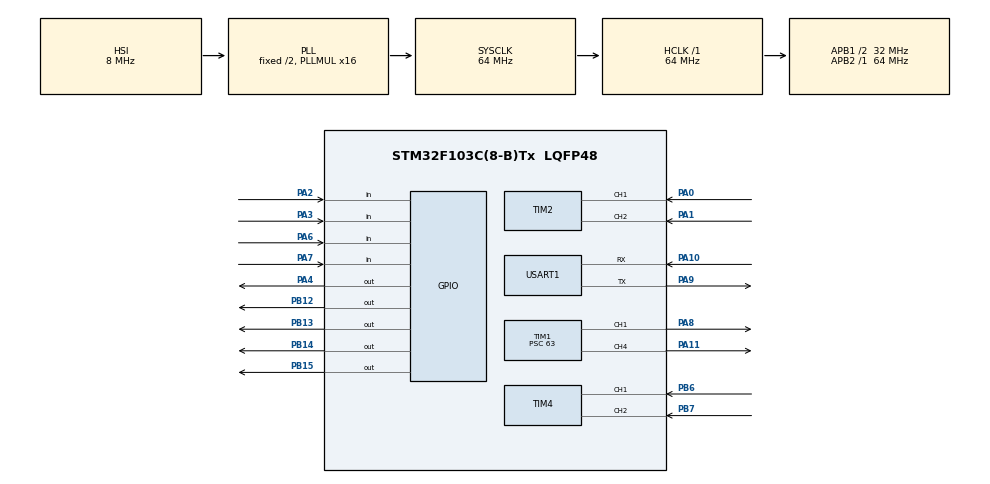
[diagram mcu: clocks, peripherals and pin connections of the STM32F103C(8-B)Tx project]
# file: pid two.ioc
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Mcu.Family=STM32F1
Mcu.Name=STM32F103C(8-B)Tx
Mcu.Package=LQFP48
NVIC.PriorityGroup=NVIC_PRIORITYGROUP_4
NVIC.TIM3_IRQn=true\:0\:0\:false\:false\:true\:true\:true\:true
PA0-WKUP.GPIO_PuPd=GPIO_PULLUP
PA0-WKUP.Signal=S_TIM2_CH1_ETR
PA1.GPIO_PuPd=GPIO_PULLUP
PA1.Signal=S_TIM2_CH2
PA10.Mode=Asynchronous
PA10.Signal=USART1_RX
PA11.Signal=S_TIM1_CH4
PA13.Mode=Serial_Wire
PA13.Signal=SYS_JTMS-SWDIO
PA14.Mode=Serial_Wire
PA14.Signal=SYS_JTCK-SWCLK
PA2.GPIO_PuPd=GPIO_PULLUP
PA2.Signal=GPIO_Input
PA3.GPIO_PuPd=GPIO_PULLUP
PA3.Signal=GPIO_Input
PA4.Signal=GPIO_Output
PA6.GPIO_PuPd=GPIO_PULLUP
PA6.Signal=GPIO_Input
PA7.GPIO_PuPd=GPIO_PULLUP
PA7.Signal=GPIO_Input
PA8.Signal=S_TIM1_CH1
PA9.Mode=Asynchronous
PA9.Signal=USART1_TX
PB12.Signal=GPIO_Output
PB13.Signal=GPIO_Output
PB14.Signal=GPIO_Output
PB15.Signal=GPIO_Output
PB6.GPIO_PuPd=GPIO_PULLUP
PB6.Signal=S_TIM4_CH1
PB7.GPIO_PuPd=GPIO_PULLUP
PB7.Signal=S_TIM4_CH2
ProjectManager.HeapSize=0x200
ProjectManager.StackSize=0x400
ProjectManager.TargetToolchain=MDK-ARM V5.32
RCC.AHBFreq_Value=64000000
RCC.APB1CLKDivider=RCC_HCLK_DIV2
RCC.APB1Freq_Value=32000000
RCC.APB1TimFreq_Value=64000000
RCC.APB2Freq_Value=64000000
RCC.APB2TimFreq_Value=64000000
RCC.HCLKFreq_Value=64000000
RCC.PLLMUL=RCC_PLL_MUL16
RCC.SYSCLKFreq_VALUE=64000000
RCC.SYSCLKSource=RCC_SYSCLKSOURCE_PLLCLK
RCC.USBFreq_Value=64000000
SH.S_TIM1_CH1.0=TIM1_CH1,PWM Generation1 CH1
SH.S_TIM1_CH4.0=TIM1_CH4,PWM Generation4 CH4
SH.S_TIM2_CH1_ETR.0=TIM2_CH1,Encoder_Interface
SH.S_TIM2_CH2.0=TIM2_CH2,Encoder_Interface
SH.S_TIM4_CH1.0=TIM4_CH1,Encoder_Interface
SH.S_TIM4_CH2.0=TIM4_CH2,Encoder_Interface
TIM1.AutoReloadPreload=TIM_AUTORELOAD_PRELOAD_ENABLE
TIM1.Channel-PWM\ Generation1\ CH1=TIM_CHANNEL_1
TIM1.Channel-PWM\ Generation4\ CH4=TIM_CHANNEL_4
TIM1.Period=999
TIM1.Prescaler=63
TIM2.EncoderMode=TIM_ENCODERMODE_TI12
TIM3.AutoReloadPreload=TIM_AUTORELOAD_PRELOAD_ENABLE
TIM3.Period=99
TIM3.Prescaler=6399
TIM4.EncoderMode=TIM_ENCODERMODE_TI12
USART1.VirtualMode=VM_ASYNC
VP_TIM1_VS_ClockSourceINT.Mode=Internal
VP_TIM3_VS_ClockSourceINT.Mode=Internal
board=custom

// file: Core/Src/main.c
/* USER CODE BEGIN Header */
/**
  ******************************************************************************
  * @file           : main.c
  * @brief          : Main program body
  ******************************************************************************
  * @attention
  *
  * Copyright (c) 2026 STMicroelectronics.
  * All rights reserved.
  *
  * This software is licensed under terms that can be found in the LICENSE file
  * in the root directory of this software component.
  * If no LICENSE file comes with this software, it is provided AS-IS.
  *
  ******************************************************************************
  */
/* USER CODE END Header */
#include "main.h"

/* USER CODE BEGIN Includes */
#include <stdio.h>
/* USER CODE END Includes */

TIM_HandleTypeDef htim1;
TIM_HandleTypeDef htim2;
TIM_HandleTypeDef htim3;
TIM_HandleTypeDef htim4;

UART_HandleTypeDef huart1;

/* USER CODE BEGIN PV */
//电机
#define COUNTS_PER_REV  1320
#define MAX_PWM         999
//循迹引脚
#define TRACK_PORT      GPIOA
#define TRACK_L1_PIN    GPIO_PIN_2   /* 最左 PA2 */
#define TRACK_L2_PIN    GPIO_PIN_3   /* 左内 PA3 */
#define TRACK_R1_PIN    GPIO_PIN_6   /* 右内 PA6 */
#define TRACK_R2_PIN    GPIO_PIN_7   /* 最右 PA7 */
#define LINE_ACTIVE     GPIO_PIN_SET   /* 压黑线 = 高电平 */
//循迹参数
#define TRACK_BASE_SPEED_RPM  273.0f /* 直道基础转速 rpm (= 60计数档, 与F键一致) */
#define TRACK_KP              45.0f  /* P: 误差 -> 差速rpm (等价旧计数单位KP=10) */
#define TRACK_KD              20.0f  /* D: 误差变化率 -> 差速rpm (等价旧计数单位KD=5) */
#define TRACK_MAX_DIFF_RPM    136.0f /* 左右差速限幅 rpm (等价旧30计数) */
#define TRACK_SLOW_AT         2      /* |误差|>=2 判定为弯道 */
#define TRACK_SLOW_DELTA_RPM  91.0f  /* 弯道降速 rpm (273->182, 即60档->40档) */
//循迹模式状态
volatile uint8_t track_mode     = 1;  /* 1=循迹中, 0=手动(原有F/B/L/R控制) */
volatile int16_t track_err_last = 0;  /* 上一次误差, 丢线时保持转向用 */
volatile int16_t track_err_prev = 0;  /* 上一次误差, PD的D项用 */

typedef struct {
    int16_t target;
    int16_t speed;
    int16_t last_cnt;
    float kp, ki, kd;
    float err, err_last;
    float integ;
    int16_t out;
} MOTOR_PID;

MOTOR_PID ml = {.kp=2.0f, .ki=2.0f, .kd=2.0f};
MOTOR_PID mr = {.kp=2.0f, .ki=2.0f, .kd=2.0f};

typedef enum { STOP=0, FORWARD, BACKWARD, LEFT, RIGHT,TRACK } MOVE_STATE;
volatile MOVE_STATE move_state = STOP;
/* USER CODE END PV */

void SystemClock_Config(void);
static void MX_GPIO_Init(void);
static void MX_TIM1_Init(void);
static void MX_TIM2_Init(void);
static void MX_TIM3_Init(void);
static void MX_TIM4_Init(void);
static void MX_USART1_UART_Init(void);
/* USER CODE BEGIN PFP */
//电机函数原型
void Motor_Left_Set(int16_t duty);
void Motor_Right_Set(int16_t duty);
void pid_calc(MOTOR_PID *p, TIM_HandleTypeDef *htim);
void Motor_Stop(void);
void Motor_Forward(int16_t speed);
void Motor_Backward(int16_t speed);
void Motor_TurnLeft(int16_t speed);
void Motor_TurnRight(int16_t speed);
void Print_Speed(void);

/* ----【NEW】循迹PD函数原型 ---- */
uint8_t Track_ReadSensors(void);        /* 读四路传感器, 返回位图 */
int16_t Track_CalcError(uint8_t sensors);/* 位图 -> 误差(-3~+3) */
void Track_Update(void);             /* 每10ms: 传感->误差->PD->目标速度 */
void Track_SetMode(uint8_t on);      /* 启动/停止循迹 */
int16_t SpeedToCount(float rpm);        /* 【NEW】rpm -> 每10ms计数值(四舍五入) */
float CountToRpm(int16_t cnt);        /* 【NEW】每10ms计数值 -> rpm */

/* USER CODE END PFP */

/* USER CODE BEGIN 0 */
int fputc(int ch, FILE *f)
{
    HAL_UART_Transmit(&huart1, (uint8_t *)&ch, 1, HAL_MAX_DELAY);
    return ch;
}

void Motor_Left_Set(int16_t duty)
{
    if (duty > 0) {
        HAL_GPIO_WritePin(GPIOB, GPIO_PIN_12, GPIO_PIN_SET);
        HAL_GPIO_WritePin(GPIOB, GPIO_PIN_13, GPIO_PIN_RESET);
    } else if (duty < 0) {
        HAL_GPIO_WritePin(GPIOB, GPIO_PIN_12, GPIO_PIN_RESET);
        HAL_GPIO_WritePin(GPIOB, GPIO_PIN_13, GPIO_PIN_SET);
        duty = -duty;
    } else {
        HAL_GPIO_WritePin(GPIOB, GPIO_PIN_12, GPIO_PIN_RESET);
        HAL_GPIO_WritePin(GPIOB, GPIO_PIN_13, GPIO_PIN_RESET);
    }
    if (duty > MAX_PWM) duty = MAX_PWM;
    __HAL_TIM_SET_COMPARE(&htim1, TIM_CHANNEL_1, duty);
}

void Motor_Right_Set(int16_t duty)
{
    if (duty > 0) {
        HAL_GPIO_WritePin(GPIOB, GPIO_PIN_14, GPIO_PIN_SET);
        HAL_GPIO_WritePin(GPIOB, GPIO_PIN_15, GPIO_PIN_RESET);
    } else if (duty < 0) {
        HAL_GPIO_WritePin(GPIOB, GPIO_PIN_14, GPIO_PIN_RESET);
        HAL_GPIO_WritePin(GPIOB, GPIO_PIN_15, GPIO_PIN_SET);
        duty = -duty;
    } else {
        HAL_GPIO_WritePin(GPIOB, GPIO_PIN_14, GPIO_PIN_RESET);
        HAL_GPIO_WritePin(GPIOB, GPIO_PIN_15, GPIO_PIN_RESET);
    }
    if (duty > MAX_PWM) duty = MAX_PWM;
    __HAL_TIM_SET_COMPARE(&htim1, TIM_CHANNEL_4, duty);
}

void pid_calc(MOTOR_PID *p, TIM_HandleTypeDef *htim)
{
    // 1. 目标为0 -> 强制停转
    if (p->target == 0) {
        p->out = 0;
        p->integ = 0;
        p->speed = 0;
        p->err = 0;
        return;
    }

    // 2. 差分计数（绝不写回CNT）
    int16_t now = (int16_t)__HAL_TIM_GET_COUNTER(htim);
    p->speed = now - p->last_cnt;

    p->last_cnt = now;

    // 5. PID
    p->err = p->target - p->speed;
    p->integ += p->err;
    if (p->integ > 500) p->integ = 500;
    if (p->integ < -500) p->integ = -500;

    float d = p->err - p->err_last;
    p->out = (int16_t)(p->kp * p->err + p->ki * p->integ + p->kd * d);
    p->err_last = p->err;

    // 6. 输出限幅
    if (p->out > MAX_PWM) p->out = MAX_PWM;
    if (p->out < -MAX_PWM) p->out = -MAX_PWM;
}

void Motor_Stop(void)
{
    ml.target = 0; mr.target = 0;
    ml.integ = 0;   mr.integ = 0;
    ml.out = 0;     mr.out = 0;
    ml.err = 0;     mr.err = 0;
    ml.err_last = 0;mr.err_last = 0;
    Motor_Left_Set(0);
    Motor_Right_Set(0);
    HAL_GPIO_WritePin(GPIOA, GPIO_PIN_4, GPIO_PIN_RESET); // STBY=0
}

void Motor_Forward(int16_t speed)
{
    HAL_GPIO_WritePin(GPIOA, GPIO_PIN_4, GPIO_PIN_SET);
    ml.target = speed; mr.target = speed;
    ml.integ = 0; mr.integ = 0; ml.out = 0; mr.out = 0;
    ml.err = 0; mr.err = 0; ml.err_last = 0; mr.err_last = 0;
}

void Motor_Backward(int16_t speed)
{
    HAL_GPIO_WritePin(GPIOA, GPIO_PIN_4, GPIO_PIN_SET);
    ml.target = -speed; mr.target = -speed;
    ml.integ = 0; mr.integ = 0; ml.out = 0; mr.out = 0;
    ml.err = 0; mr.err = 0; ml.err_last = 0; mr.err_last = 0;
}

void Motor_TurnLeft(int16_t speed)
{
    HAL_GPIO_WritePin(GPIOA, GPIO_PIN_4, GPIO_PIN_SET);
    ml.target = speed / 2; mr.target = speed;
    ml.integ = 0; mr.integ = 0; ml.out = 0; mr.out = 0;
    ml.err = 0; mr.err = 0; ml.err_last = 0; mr.err_last = 0;
}

void Motor_TurnRight(int16_t speed)
{
    HAL_GPIO_WritePin(GPIOA, GPIO_PIN_4, GPIO_PIN_SET);
    ml.target = speed; mr.target = speed / 2;
    ml.integ = 0; mr.integ = 0; ml.out = 0; mr.out = 0;
    ml.err = 0; mr.err = 0; ml.err_last = 0; mr.err_last = 0;
}

void Print_Speed(void)
{
    float rpm_l = ml.speed * 100.0f * 60.0f / COUNTS_PER_REV;
    float rpm_r = mr.speed * 100.0f * 60.0f / COUNTS_PER_REV;
    printf("State:%d | L:tgt=%d spd=%d rpm=%.1f out=%d | R:tgt=%d spd=%d rpm=%.1f out=%d\r\n",
           move_state,
           ml.target, ml.speed, rpm_l, ml.out,
           mr.target, mr.speed, rpm_r, mr.out);
}

/* ==================== 【NEW】转速 <-> 计数 换算函数 ==================== */
/* 换算公式推导:
   每转 = 1320个计数(减速比30 x 线数11 x 4倍频, 即 COUNTS_PER_REV)
   1分钟 = 60000ms = 6000 个 10ms 周期
   => rpm 对应的每10ms计数值 = rpm x 1320 / 6000
   例: 273rpm -> 273x1320/6000 = 60计数(与你F键的60档一致)          */
int16_t SpeedToCount(float rpm)
{
    float cnt = rpm * (float)COUNTS_PER_REV / 6000.0f;
    return (int16_t)(cnt + (cnt >= 0 ? 0.5f : -0.5f)); /* 四舍五入, 防浮点截断少1 */
}

float CountToRpm(int16_t cnt)
{
    return (float)cnt * 6000.0f / (float)COUNTS_PER_REV;
}

/* ==================== 【NEW】四路循迹PD: 实现 ==================== */
/* 传感器位图约定: bit3=最左PA2, bit2=左内PA3, bit1=右内PA6, bit0=最右PA7
   位=1 表示该路压在黑线上                                          */
/* 权重表: 从左到右 {-3,-1,+1,+3}
   中间两路(L2,R1)同时对正压线时 (-1)+(+1)=0 -> 误差恰为0
   越靠外侧权重越大, 偏得越远误差绝对值越大                          */
static const int8_t TRACK_W[4] = {-3, -1, 1, 3};

uint8_t Track_ReadSensors(void)
{
    uint8_t sensors = 0;
    if (HAL_GPIO_ReadPin(TRACK_PORT, TRACK_L1_PIN) == LINE_ACTIVE) sensors |= 0x08; /* 最左 */   //也就是说检测到黑线就置1
    if (HAL_GPIO_ReadPin(TRACK_PORT, TRACK_L2_PIN) == LINE_ACTIVE) sensors |= 0x04; /* 左内 */   //|表示有1就表示1
	  if (HAL_GPIO_ReadPin(TRACK_PORT, TRACK_R1_PIN) == LINE_ACTIVE) sensors |= 0x02; /* 右内 */   //0x08表示1000   0x04表示0100
	  if (HAL_GPIO_ReadPin(TRACK_PORT, TRACK_R2_PIN) == LINE_ACTIVE) sensors |= 0x01; /* 最右 */   //0x02表示0010   0x01表示0001
    return sensors;
}

int16_t Track_CalcError(uint8_t sensors)   //&表示都是1才为1
{
    int16_t sum = 0;
    uint8_t cnt = 0, i;
    for (i = 0; i < 4; i++)
	  {
			if (sensors & (uint8_t)(1u << (3 - i))) { sum += TRACK_W[i]; cnt++; }// 用于检测是否为1,1的话就表示识别黑线
    }                                                                      //(1u << (3 - i))表示0001左移三位，变为1000
    if (cnt == 0)
		{
        return track_err_last;      /* 全白丢线: 保持上次误差, 继续原方向转向 */
    }
    track_err_last = sum / cnt;     /* 归一化加权平均(向零截断), 范围[-3,+3] */
    return track_err_last;
}

void Track_Update(void)
{
    int16_t err = Track_CalcError(Track_ReadSensors());
    int16_t d   = err - track_err_prev;   /* 误差变化率(D项), 丢线时d=0输出平稳 */
    track_err_prev = err;

    float pd = TRACK_KP * err + TRACK_KD * d;   /* 位置式PD -> 左右差速, 单位rpm */
    if (pd >  TRACK_MAX_DIFF_RPM) pd =  TRACK_MAX_DIFF_RPM;  /* 差速限幅 */
    if (pd < -TRACK_MAX_DIFF_RPM) pd = -TRACK_MAX_DIFF_RPM;

    float base = TRACK_BASE_SPEED_RPM;
    if (err >= TRACK_SLOW_AT || err <= -TRACK_SLOW_AT)
		 {
        base -= TRACK_SLOW_DELTA_RPM;   /* 弯道(误差大)降速, 防止半圆弯甩出去 */
     }
  /* err>0 = 黑线在车右侧 = 车偏左 -> 需右转: 左轮快右轮慢   err>0时PD为正，err<0时PD为负
       换算成底层PID的每10ms计数值后下发, 实际转速由原有电机PID闭环保证 */
    int16_t tL = SpeedToCount(base + pd);
    int16_t tR = SpeedToCount(base - pd);
    if (tL < 0) tL = 0;     /* 【审查修复】极端调参保护: 内轮最多停转, 不反打 */
    if (tR < 0) tR = 0;
    ml.target = tR;
		mr.target = tL;//这里反过来，是因为原来电机pid就是反的
}

void Track_SetMode(uint8_t on)
{
    if (on) {
        track_err_last = 0;                         /* 复位误差记忆 */
        track_err_prev = 0;
        ml.integ = 0; mr.integ = 0;                 /* 复位电机PID积分 */
        ml.err = 0; mr.err = 0; ml.err_last = 0; mr.err_last = 0;
        HAL_GPIO_WritePin(GPIOA, GPIO_PIN_4, GPIO_PIN_SET); /* STBY=1 使能驱动 */
        move_state = TRACK;
        printf(">> Track On\r\n");
    } else {
        Motor_Stop();               /* 复用原有停转函数(已做STBY=0和复位) */
        move_state = STOP;
        printf(">> Track Off\r\n");
    }
    track_mode = on;
}

/* USER CODE END 0 */

int main(void)
{

  /* MCU Configuration--------------------------------------------------------*/

  /* Reset of all peripherals, Initializes the Flash interface and the Systick. */
  HAL_Init();

  /* Configure the system clock */
  SystemClock_Config();

  /* Initialize all configured peripherals */
  MX_GPIO_Init();
  MX_TIM1_Init();
  MX_TIM2_Init();
  MX_TIM3_Init();
  MX_TIM4_Init();
  MX_USART1_UART_Init();
  /* USER CODE BEGIN 2 */
HAL_TIM_PWM_Start(&htim1, TIM_CHANNEL_1);
HAL_TIM_PWM_Start(&htim1, TIM_CHANNEL_4);

HAL_TIM_Encoder_Start(&htim2, TIM_CHANNEL_ALL);
HAL_TIM_Encoder_Start(&htim4, TIM_CHANNEL_ALL);

HAL_TIM_Base_Start_IT(&htim3);

ml.last_cnt = (int16_t)__HAL_TIM_GET_COUNTER(&htim2);
mr.last_cnt = (int16_t)__HAL_TIM_GET_COUNTER(&htim4);

Motor_Stop();
HAL_Delay(300);
HAL_GPIO_WritePin(GPIOA, GPIO_PIN_4, GPIO_PIN_SET); // STBY=1
Track_SetMode (1);

printf("System Ready!\r\n");
printf("Commands: F=Forward B=Backward L=Left R=Right S=Stop\r\n");
  /* USER CODE END 2 */

  /* Infinite loop */
  /* USER CODE BEGIN WHILE */
  while (1)
  {

//    // ===== PID闭环模式 =====
    uint8_t cmd;
    if (HAL_UART_Receive(&huart1, &cmd, 1, 0) == HAL_OK) {
        if (cmd == '\r' || cmd == '\n') continue;
        switch (cmd) {
            case 'F': case 'f': Motor_Forward(60);  move_state = FORWARD;  printf(">> Forward\r\n");  break;
            case 'B': case 'b': Motor_Backward(60); move_state = BACKWARD; printf(">> Backward\r\n"); break;
            case 'L': case 'l': Motor_TurnLeft(60); move_state = LEFT;     printf(">> Left\r\n");     break;
            case 'R': case 'r': Motor_TurnRight(60);move_state = RIGHT;    printf(">> Right\r\n");    break;
					  /* ----【NEW】T键: 启动/停止循迹(切换) ---- */        //按一次变为循迹mode再按则变为STOP
            case 'T': case 't':  Track_SetMode(!track_mode);                                          break;
            case 'S': case 's': Motor_Stop();       move_state = STOP;     printf(">> Stop\r\n");     break;
            default: break;
        }
    }
    HAL_Delay(10);

    /* USER CODE END WHILE */

  }
}

void SystemClock_Config(void)
{
  RCC_OscInitTypeDef RCC_OscInitStruct = {0};
  RCC_ClkInitTypeDef RCC_ClkInitStruct = {0};

  /** Initializes the RCC Oscillators according to the specified parameters
  * in the RCC_OscInitTypeDef structure.
  */
  RCC_OscInitStruct.OscillatorType = RCC_OSCILLATORTYPE_HSI;
  RCC_OscInitStruct.HSIState = RCC_HSI_ON;
  RCC_OscInitStruct.HSICalibrationValue = RCC_HSICALIBRATION_DEFAULT;
  RCC_OscInitStruct.PLL.PLLState = RCC_PLL_ON;
  RCC_OscInitStruct.PLL.PLLSource = RCC_PLLSOURCE_HSI_DIV2;
  RCC_OscInitStruct.PLL.PLLMUL = RCC_PLL_MUL16;
  if (HAL_RCC_OscConfig(&RCC_OscInitStruct) != HAL_OK)
  {
    Error_Handler();
  }

  /** Initializes the CPU, AHB and APB buses clocks
  */
  RCC_ClkInitStruct.ClockType = RCC_CLOCKTYPE_HCLK|RCC_CLOCKTYPE_SYSCLK
                              |RCC_CLOCKTYPE_PCLK1|RCC_CLOCKTYPE_PCLK2;
  RCC_ClkInitStruct.SYSCLKSource = RCC_SYSCLKSOURCE_PLLCLK;
  RCC_ClkInitStruct.AHBCLKDivider = RCC_SYSCLK_DIV1;
  RCC_ClkInitStruct.APB1CLKDivider = RCC_HCLK_DIV2;
  RCC_ClkInitStruct.APB2CLKDivider = RCC_HCLK_DIV1;

  if (HAL_RCC_ClockConfig(&RCC_ClkInitStruct, FLASH_LATENCY_2) != HAL_OK)
  {
    Error_Handler();
  }
}

static void MX_TIM1_Init(void)
{

  TIM_ClockConfigTypeDef sClockSourceConfig = {0};
  TIM_MasterConfigTypeDef sMasterConfig = {0};
  TIM_OC_InitTypeDef sConfigOC = {0};
  TIM_BreakDeadTimeConfigTypeDef sBreakDeadTimeConfig = {0};

  htim1.Instance = TIM1;
  htim1.Init.Prescaler = 63;
  htim1.Init.CounterMode = TIM_COUNTERMODE_UP;
  htim1.Init.Period = 999;
  htim1.Init.ClockDivision = TIM_CLOCKDIVISION_DIV1;
  htim1.Init.RepetitionCounter = 0;
  htim1.Init.AutoReloadPreload = TIM_AUTORELOAD_PRELOAD_ENABLE;
  if (HAL_TIM_Base_Init(&htim1) != HAL_OK)
  {
    Error_Handler();
  }
  sClockSourceConfig.ClockSource = TIM_CLOCKSOURCE_INTERNAL;
  if (HAL_TIM_ConfigClockSource(&htim1, &sClockSourceConfig) != HAL_OK)
  {
    Error_Handler();
  }
  if (HAL_TIM_PWM_Init(&htim1) != HAL_OK)
  {
    Error_Handler();
  }
  sMasterConfig.MasterOutputTrigger = TIM_TRGO_RESET;
  sMasterConfig.MasterSlaveMode = TIM_MASTERSLAVEMODE_DISABLE;
  if (HAL_TIMEx_MasterConfigSynchronization(&htim1, &sMasterConfig) != HAL_OK)
  {
    Error_Handler();
  }
  sConfigOC.OCMode = TIM_OCMODE_PWM1;
  sConfigOC.Pulse = 0;
  sConfigOC.OCPolarity = TIM_OCPOLARITY_HIGH;
  sConfigOC.OCNPolarity = TIM_OCNPOLARITY_HIGH;
  sConfigOC.OCFastMode = TIM_OCFAST_DISABLE;
  sConfigOC.OCIdleState = TIM_OCIDLESTATE_RESET;
  sConfigOC.OCNIdleState = TIM_OCNIDLESTATE_RESET;
  if (HAL_TIM_PWM_ConfigChannel(&htim1, &sConfigOC, TIM_CHANNEL_1) != HAL_OK)
  {
    Error_Handler();
  }
  if (HAL_TIM_PWM_ConfigChannel(&htim1, &sConfigOC, TIM_CHANNEL_4) != HAL_OK)
  {
    Error_Handler();
  }
  sBreakDeadTimeConfig.OffStateRunMode = TIM_OSSR_DISABLE;
  sBreakDeadTimeConfig.OffStateIDLEMode = TIM_OSSI_DISABLE;
  sBreakDeadTimeConfig.LockLevel = TIM_LOCKLEVEL_OFF;
  sBreakDeadTimeConfig.DeadTime = 0;
  sBreakDeadTimeConfig.BreakState = TIM_BREAK_DISABLE;
  sBreakDeadTimeConfig.BreakPolarity = TIM_BREAKPOLARITY_HIGH;
  sBreakDeadTimeConfig.AutomaticOutput = TIM_AUTOMATICOUTPUT_DISABLE;
  if (HAL_TIMEx_ConfigBreakDeadTime(&htim1, &sBreakDeadTimeConfig) != HAL_OK)
  {
    Error_Handler();
  }
  HAL_TIM_MspPostInit(&htim1);

}

static void MX_TIM2_Init(void)
{

  TIM_Encoder_InitTypeDef sConfig = {0};
  TIM_MasterConfigTypeDef sMasterConfig = {0};

  htim2.Instance = TIM2;
  htim2.Init.Prescaler = 0;
  htim2.Init.CounterMode = TIM_COUNTERMODE_UP;
  htim2.Init.Period = 65535;
  htim2.Init.ClockDivision = TIM_CLOCKDIVISION_DIV1;
  htim2.Init.AutoReloadPreload = TIM_AUTORELOAD_PRELOAD_DISABLE;
  sConfig.EncoderMode = TIM_ENCODERMODE_TI12;
  sConfig.IC1Polarity = TIM_ICPOLARITY_RISING;
  sConfig.IC1Selection = TIM_ICSELECTION_DIRECTTI;
  sConfig.IC1Prescaler = TIM_ICPSC_DIV1;
  sConfig.IC1Filter = 0;
  sConfig.IC2Polarity = TIM_ICPOLARITY_RISING;
  sConfig.IC2Selection = TIM_ICSELECTION_DIRECTTI;
  sConfig.IC2Prescaler = TIM_ICPSC_DIV1;
  sConfig.IC2Filter = 0;
  if (HAL_TIM_Encoder_Init(&htim2, &sConfig) != HAL_OK)
  {
    Error_Handler();
  }
  sMasterConfig.MasterOutputTrigger = TIM_TRGO_RESET;
  sMasterConfig.MasterSlaveMode = TIM_MASTERSLAVEMODE_DISABLE;
  if (HAL_TIMEx_MasterConfigSynchronization(&htim2, &sMasterConfig) != HAL_OK)
  {
    Error_Handler();
  }

}

static void MX_TIM3_Init(void)
{

  TIM_ClockConfigTypeDef sClockSourceConfig = {0};
  TIM_MasterConfigTypeDef sMasterConfig = {0};

  htim3.Instance = TIM3;
  htim3.Init.Prescaler = 6399;
  htim3.Init.CounterMode = TIM_COUNTERMODE_UP;
  htim3.Init.Period = 99;
  htim3.Init.ClockDivision = TIM_CLOCKDIVISION_DIV1;
  htim3.Init.AutoReloadPreload = TIM_AUTORELOAD_PRELOAD_ENABLE;
  if (HAL_TIM_Base_Init(&htim3) != HAL_OK)
  {
    Error_Handler();
  }
  sClockSourceConfig.ClockSource = TIM_CLOCKSOURCE_INTERNAL;
  if (HAL_TIM_ConfigClockSource(&htim3, &sClockSourceConfig) != HAL_OK)
  {
    Error_Handler();
  }
  sMasterConfig.MasterOutputTrigger = TIM_TRGO_RESET;
  sMasterConfig.MasterSlaveMode = TIM_MASTERSLAVEMODE_DISABLE;
  if (HAL_TIMEx_MasterConfigSynchronization(&htim3, &sMasterConfig) != HAL_OK)
  {
    Error_Handler();
  }

}

static void MX_TIM4_Init(void)
{

  TIM_Encoder_InitTypeDef sConfig = {0};
  TIM_MasterConfigTypeDef sMasterConfig = {0};

  htim4.Instance = TIM4;
  htim4.Init.Prescaler = 0;
  htim4.Init.CounterMode = TIM_COUNTERMODE_UP;
  htim4.Init.Period = 65535;
  htim4.Init.ClockDivision = TIM_CLOCKDIVISION_DIV1;
  htim4.Init.AutoReloadPreload = TIM_AUTORELOAD_PRELOAD_DISABLE;
  sConfig.EncoderMode = TIM_ENCODERMODE_TI12;
  sConfig.IC1Polarity = TIM_ICPOLARITY_RISING;
  sConfig.IC1Selection = TIM_ICSELECTION_DIRECTTI;
  sConfig.IC1Prescaler = TIM_ICPSC_DIV1;
  sConfig.IC1Filter = 0;
  sConfig.IC2Polarity = TIM_ICPOLARITY_RISING;
  sConfig.IC2Selection = TIM_ICSELECTION_DIRECTTI;
  sConfig.IC2Prescaler = TIM_ICPSC_DIV1;
  sConfig.IC2Filter = 0;
  if (HAL_TIM_Encoder_Init(&htim4, &sConfig) != HAL_OK)
  {
    Error_Handler();
  }
  sMasterConfig.MasterOutputTrigger = TIM_TRGO_RESET;
  sMasterConfig.MasterSlaveMode = TIM_MASTERSLAVEMODE_DISABLE;
  if (HAL_TIMEx_MasterConfigSynchronization(&htim4, &sMasterConfig) != HAL_OK)
  {
    Error_Handler();
  }

}

static void MX_USART1_UART_Init(void)
{

  huart1.Instance = USART1;
  huart1.Init.BaudRate = 115200;
  huart1.Init.WordLength = UART_WORDLENGTH_8B;
  huart1.Init.StopBits = UART_STOPBITS_1;
  huart1.Init.Parity = UART_PARITY_NONE;
  huart1.Init.Mode = UART_MODE_TX_RX;
  huart1.Init.HwFlowCtl = UART_HWCONTROL_NONE;
  huart1.Init.OverSampling = UART_OVERSAMPLING_16;
  if (HAL_UART_Init(&huart1) != HAL_OK)
  {
    Error_Handler();
  }

}

static void MX_GPIO_Init(void)
{
  GPIO_InitTypeDef GPIO_InitStruct = {0};

  /* GPIO Ports Clock Enable */
  __HAL_RCC_GPIOA_CLK_ENABLE();
  __HAL_RCC_GPIOB_CLK_ENABLE();

  /*Configure GPIO pin Output Level */
  HAL_GPIO_WritePin(GPIOA, GPIO_PIN_4, GPIO_PIN_RESET);

  /*Configure GPIO pin Output Level */
  HAL_GPIO_WritePin(GPIOB, GPIO_PIN_12|GPIO_PIN_13|GPIO_PIN_14|GPIO_PIN_15, GPIO_PIN_RESET);

  /*Configure GPIO pins : PA2 PA3 PA6 PA7 */
  GPIO_InitStruct.Pin = GPIO_PIN_2|GPIO_PIN_3|GPIO_PIN_6|GPIO_PIN_7;
  GPIO_InitStruct.Mode = GPIO_MODE_INPUT;
  GPIO_InitStruct.Pull = GPIO_PULLUP;
  HAL_GPIO_Init(GPIOA, &GPIO_InitStruct);

  /*Configure GPIO pin : PA4 */
  GPIO_InitStruct.Pin = GPIO_PIN_4;
  GPIO_InitStruct.Mode = GPIO_MODE_OUTPUT_PP;
  GPIO_InitStruct.Pull = GPIO_NOPULL;
  GPIO_InitStruct.Speed = GPIO_SPEED_FREQ_LOW;
  HAL_GPIO_Init(GPIOA, &GPIO_InitStruct);

  /*Configure GPIO pins : PB12 PB13 PB14 PB15 */
  GPIO_InitStruct.Pin = GPIO_PIN_12|GPIO_PIN_13|GPIO_PIN_14|GPIO_PIN_15;
  GPIO_InitStruct.Mode = GPIO_MODE_OUTPUT_PP;
  GPIO_InitStruct.Pull = GPIO_NOPULL;
  GPIO_InitStruct.Speed = GPIO_SPEED_FREQ_LOW;
  HAL_GPIO_Init(GPIOB, &GPIO_InitStruct);

}

/* USER CODE BEGIN 4 */
void HAL_TIM_PeriodElapsedCallback(TIM_HandleTypeDef *htim)
{
    if (htim->Instance == TIM3) {
        static uint8_t cnt = 0;

			   /* ----【NEW】循迹模式下每10ms刷新一次目标速度 ---- */
        if (track_mode)
					{
            Track_Update();
          }

        pid_calc(&ml, &htim2);
        pid_calc(&mr, &htim4);
        Motor_Left_Set(ml.out);
        Motor_Right_Set(mr.out);

        if (++cnt >= 10) {
            cnt = 0;
            Print_Speed();
        }

    }
}
/* USER CODE END 4 */

void Error_Handler(void)
{
  __disable_irq();
  while (1)
  {
  }
}
